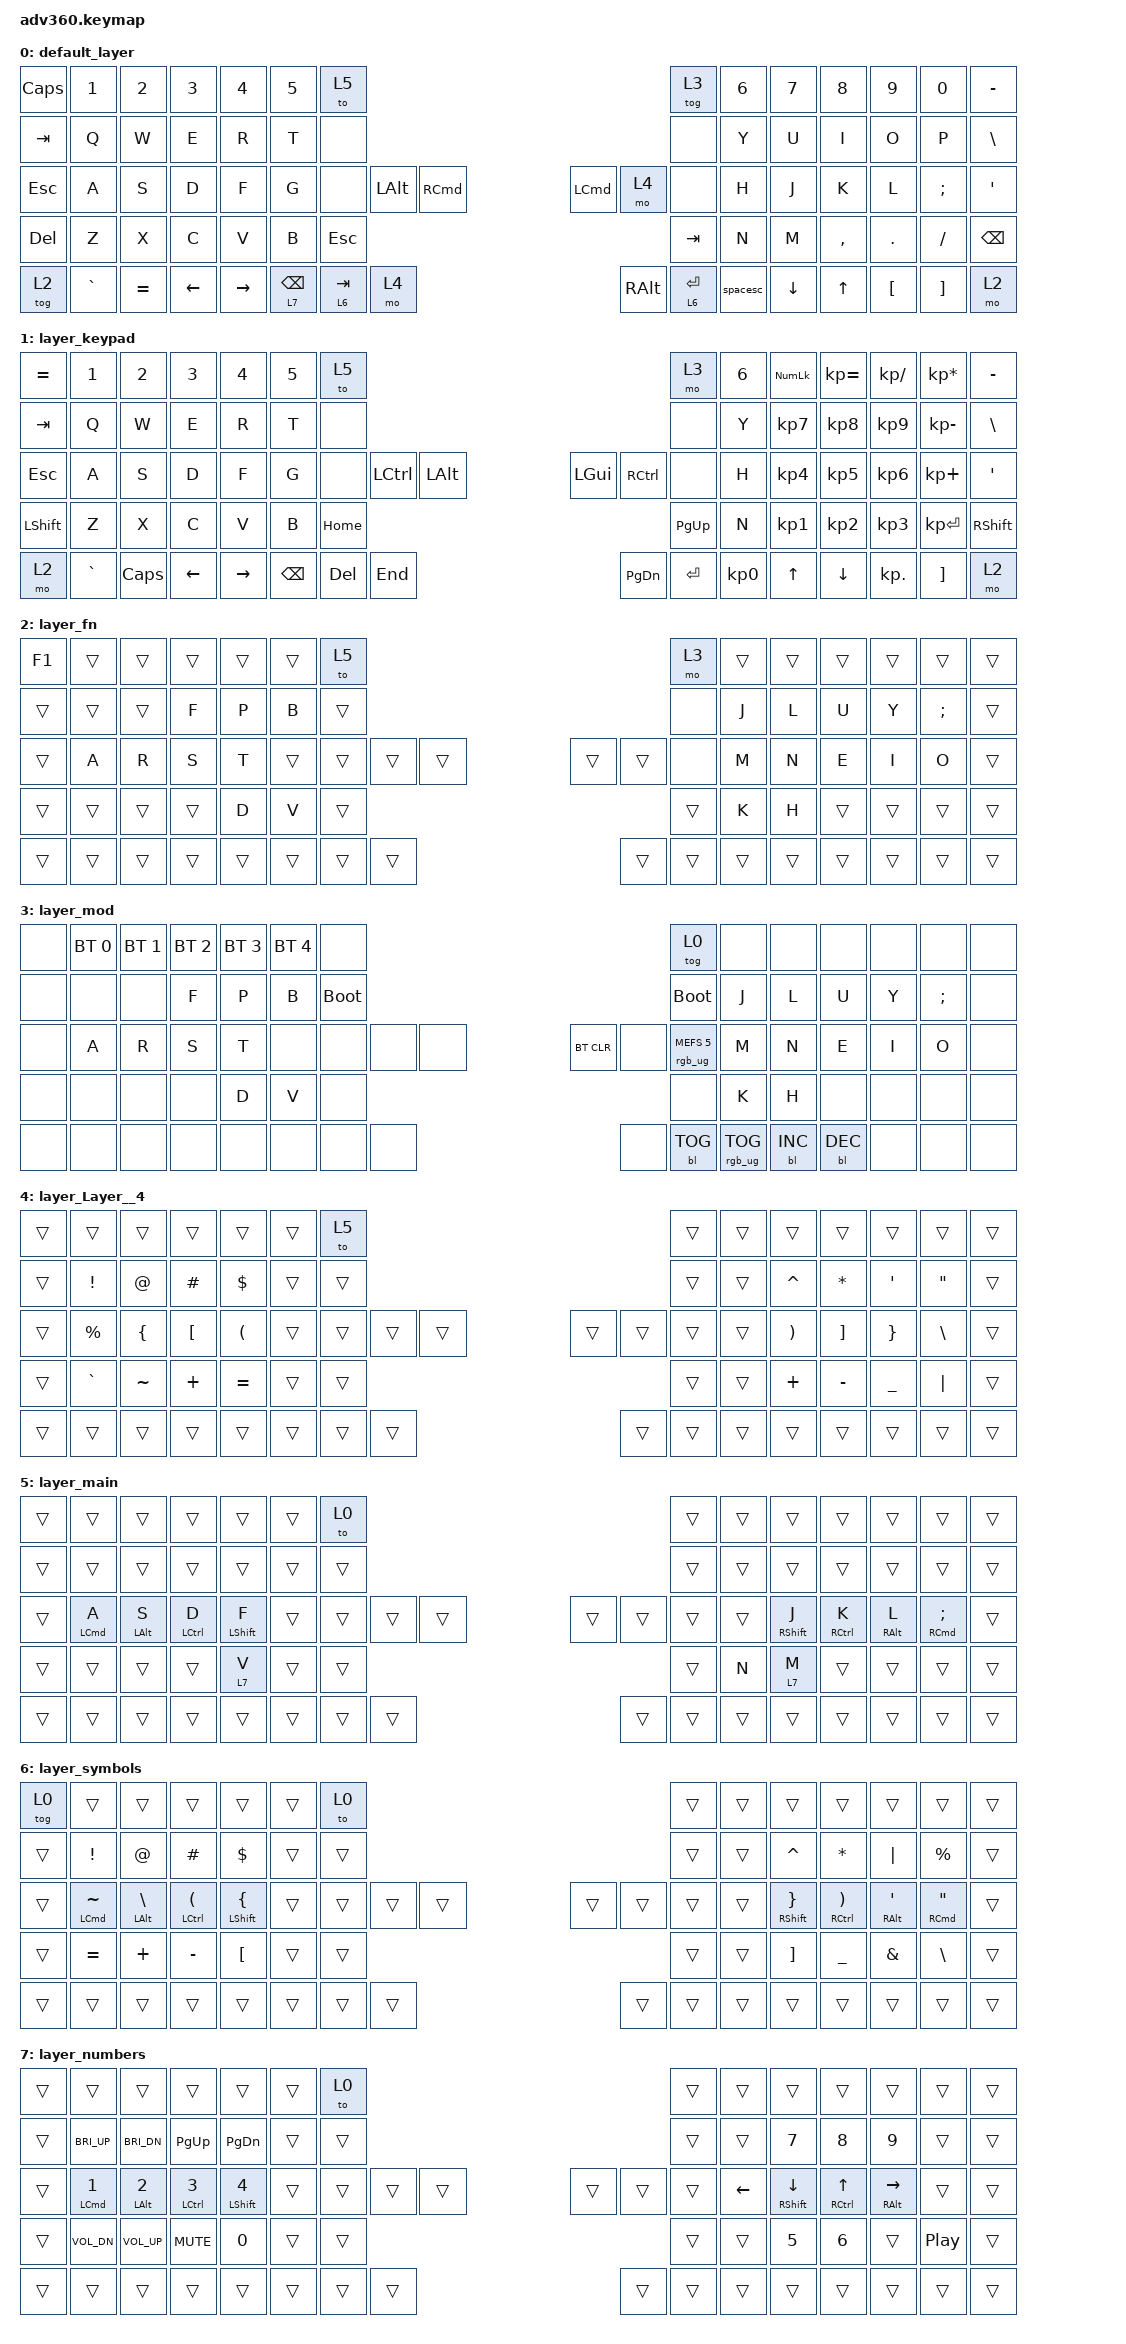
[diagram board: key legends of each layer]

/*
 * Copyright (c) 2020 The ZMK Contributors
 *
 * SPDX-License-Identifier: MIT
 */


/* THIS FILE WAS GENERATED!
 *
 * This file was generated automatically. You may or may not want to
 * edit it directly.
 */

#include <behaviors.dtsi>
#include <dt-bindings/zmk/keys.h>
#include <dt-bindings/zmk/bt.h>
#include <dt-bindings/zmk/rgb.h>
#include <dt-bindings/zmk/backlight.h>

/ {
  behaviors {
    #include "macros.dtsi"

    hm: homerow_mods {
        compatible = "zmk,behavior-hold-tap";
        label = "HOMEROW_MODS";
        #binding-cells = <2>;
        tapping-term-ms = <200>;
        quick_tap_ms = <150>;
        global-quick-tap;
        // require-prior-idle-ms=<125>;
        flavor = "balanced";
        bindings = <&kp>, <&kp>;
    };
    spacesc: space_escape {
        compatible = "zmk,behavior-mod-morph";
        label = "SPACE_ESCAPE";
        #binding-cells = <0>;
        bindings = <&kp SPACE>, <&kp ESC>;
        mods = <(MOD_LSFT|MOD_RSFT)>;
    }; 
  };

    keymap {
        compatible = "zmk,keymap";


        default_layer {
            bindings = <
 &kp CAPSLOCK     &kp N1     &kp N2          &kp N3           &kp N4  &kp N5                          &to 5                                                                           &tog 3  &kp N6          &kp N7        &kp N8    &kp N9    &kp N0      &kp MINUS
      &kp TAB      &kp Q      &kp W           &kp E            &kp R   &kp T                          &none                                                                            &none   &kp Y           &kp U         &kp I     &kp O     &kp P       &kp BSLH
      &kp ESC      &kp A      &kp S           &kp D            &kp F   &kp G                          &none      &kp LEFT_ALT  &kp RCMD                       &kp LCMD      &mo 4      &none   &kp H           &kp J         &kp K     &kp L  &kp SEMI        &kp SQT
      &kp DEL      &kp Z      &kp X           &kp C            &kp V   &kp B                                                    &kp ESC                        &kp TAB                         &kp N           &kp M     &kp COMMA   &kp DOT  &kp FSLH  &kp BACKSPACE
       &tog 2  &kp GRAVE  &kp EQUAL  &kp LEFT_ARROW  &kp RIGHT_ARROW                    &lt 7 BACKSPACE  &lt 6 TAB     &mo 4                  &kp RIGHT_ALT  &lt 6 ENTER  &spacesc       &kp DOWN_ARROW  &kp UP_ARROW  &kp LBKT  &kp RBKT          &mo 2
            >;
        };

        layer_keypad {
            bindings = <
 &kp EQUAL     &kp N1    &kp N2    &kp N3     &kp N4  &kp N5               &to 5                                                                 &mo 3  &kp N6  &kp KP_NUM  &kp KP_EQUAL  &kp KP_DIVIDE  &kp KP_MULTIPLY  &kp MINUS
   &kp TAB      &kp Q     &kp W     &kp E      &kp R   &kp T               &none                                                                 &none   &kp Y   &kp KP_N7     &kp KP_N8      &kp KP_N9     &kp KP_MINUS   &kp BSLH
   &kp ESC      &kp A     &kp S     &kp D      &kp F   &kp G               &none  &kp LCTRL  &kp LALT                   &kp LGUI  &kp RCTRL      &none   &kp H   &kp KP_N4     &kp KP_N5      &kp KP_N6      &kp KP_PLUS    &kp SQT
 &kp LSHFT      &kp Z     &kp X     &kp C      &kp V   &kp B                                 &kp HOME                  &kp PG_UP                         &kp N   &kp KP_N1     &kp KP_N2      &kp KP_N3     &kp KP_ENTER  &kp RSHFT
     &mo 2  &kp GRAVE  &kp CAPS  &kp LEFT  &kp RIGHT                    &kp BSPC    &kp DEL   &kp END                  &kp PG_DN  &kp ENTER  &kp KP_N0              &kp UP      &kp DOWN     &kp KP_DOT         &kp RBKT      &mo 2
            >;
        };

        layer_fn {
            bindings = <
 &kp F1  &trans  &trans  &trans  &trans  &trans             &to 5                                                   &mo 3  &trans  &trans  &trans  &trans         &trans  &trans
 &trans  &trans  &trans   &kp F   &kp P   &kp B            &trans                                                   &none   &kp J   &kp L   &kp U   &kp Y  &kp SEMICOLON  &trans
 &trans   &kp A   &kp R   &kp S   &kp T  &trans            &trans  &trans  &trans                  &trans  &trans   &none   &kp M   &kp N   &kp E   &kp I          &kp O  &trans
 &trans  &trans  &trans  &trans   &kp D   &kp V                            &trans                  &trans                   &kp K   &kp H  &trans  &trans         &trans  &trans
 &trans  &trans  &trans  &trans  &trans                    &trans  &trans  &trans                  &trans  &trans  &trans          &trans  &trans  &trans         &trans  &trans
            >;
        };

        layer_mod {
            bindings = <
  &none  &bt BT_SEL 0  &bt BT_SEL 1  &bt BT_SEL 2  &bt BT_SEL 3  &bt BT_SEL 4                  &none                                                                          &tog 0   &none       &none       &none   &none          &none   &none
  &none         &none         &none         &kp F         &kp P         &kp B            &bootloader                                                                     &bootloader   &kp J       &kp L       &kp U   &kp Y  &kp SEMICOLON   &none
  &none         &kp A         &kp R         &kp S         &kp T         &none                  &none   &none   &none                  &bt BT_CLR       &none  &rgb_ug RGB_MEFS_CMD 5   &kp M       &kp N       &kp E   &kp I          &kp O   &none
  &none         &none         &none         &none         &kp D         &kp V                                  &none                       &none                                       &kp K       &kp H       &none   &none          &none   &none
  &none         &none         &none         &none         &none                                &none   &none   &none                       &none  &bl BL_TOG         &rgb_ug RGB_TOG          &bl BL_INC  &bl BL_DEC   &none          &none   &none
            >;
        };

        layer_Layer__4 {
            bindings = <
 &trans       &trans          &trans            &trans                &trans  &trans             &to 5                                                  &trans  &trans                 &trans             &trans            &trans             &trans  &trans
 &trans     &kp EXCL          &kp AT         &kp POUND            &kp DOLLAR  &trans            &trans                                                  &trans  &trans              &kp CARET           &kp STAR  &kp SINGLE_QUOTE  &kp DOUBLE_QUOTES  &trans
 &trans  &kp PERCENT  &kp LEFT_BRACE  &kp LEFT_BRACKET  &kp LEFT_PARENTHESIS  &trans            &trans  &trans  &trans                  &trans  &trans  &trans  &trans  &kp RIGHT_PARENTHESIS  &kp RIGHT_BRACKET   &kp RIGHT_BRACE      &kp BACKSLASH  &trans
 &trans    &kp GRAVE       &kp TILDE          &kp PLUS             &kp EQUAL  &trans                            &trans                  &trans                  &trans               &kp PLUS          &kp MINUS    &kp UNDERSCORE           &kp PIPE  &trans
 &trans       &trans          &trans            &trans                &trans                    &trans  &trans  &trans                  &trans  &trans  &trans                         &trans             &trans            &trans             &trans  &trans
            >;
        };

        layer_main {
            bindings = <
  &trans &trans &trans         &trans             &trans &trans            &to 0                                                                                   &trans &trans              &trans          &trans &trans &trans &trans
  &trans &trans &trans         &trans             &trans &trans           &trans                                                                                   &trans &trans              &trans          &trans &trans &trans &trans
  &trans &hm LEFT_COMMAND A &hm LEFT_ALT S &hm LCTRL D &hm LEFT_SHIFT F &trans           &trans         &trans &trans                     &trans            &trans    &trans &trans &hm RIGHT_SHIFT J &hm RCTRL K &hm RIGHT_ALT L &hm RIGHT_COMMAND SEMICOLON &trans
  &trans &trans &trans         &trans             &lt 7 V &trans                                       &trans                     &trans                                   &kp N              &lt 7 M          &trans &trans &trans &trans
  &trans &trans &trans         &trans             &trans                      &trans  &trans &trans                     &trans &trans &trans &trans          &trans &trans &trans &trans
            >;
        };

        layer_symbols {
            bindings = <
  &tog 0          &trans   &trans               &trans         &trans           &trans            &to 0                                                                              &trans            &trans           &trans                &trans        &trans        &trans &trans
  &trans        &kp EXCL   &kp AT             &kp HASH     &kp DOLLAR      &trans           &trans                                                                              &trans         &trans  &kp CARET &kp STAR      &kp PIPE         &kp PERCENT  &trans
  &trans &hm LEFT_COMMAND TILDE &hm LEFT_ALT BACKSLASH &hm LCTRL LPAR &hm LEFT_SHIFT LBRC &trans           &trans         &trans &trans                     &trans            &trans    &trans &trans &hm RIGHT_SHIFT RBRC &hm RCTRL RPAR &hm RIGHT_ALT SQT &hm RIGHT_COMMAND DQT &trans
  &trans       &kp EQUAL                   &kp PLUS               &kp MINUS                  &kp LBKT          &trans            &trans       &trans      &trans  &kp RBKT &kp UNDER &kp AMPS    &kp BACKSLASH &trans
  &trans          &trans   &trans               &trans         &trans                                &trans &trans &trans                     &trans &trans &trans                                &trans                &trans        &trans        &trans &trans
            >;
        };

        layer_numbers {
            bindings = <
 &trans        &trans    &trans      &trans          &trans        &trans             &to 0                                                                       &trans  &trans            &trans        &trans        &trans     &trans  &trans
 &trans        &kp C_BRI_UP  &kp C_BRI_DN  &kp PG_UP      &kp PG_DN      &trans            &trans                                                                                       &trans    &trans   &kp N7    &kp N8    &kp N9        &trans &trans
 &trans  &hm LEFT_COMMAND N1    &hm LEFT_ALT N2      &hm LCTRL N3          &hm LEFT_SHIFT N4  &trans     &trans            &trans  &trans                  &trans   &trans  &trans    &kp LEFT  &hm RIGHT_SHIFT DOWN  &hm RCTRL UP    &hm RIGHT_ALT RIGHT     &trans &trans
 &trans     &kp C_VOL_DN  &kp C_VOL_UP   &kp C_MUTE  &kp N0        &trans                                      &trans                  &trans                             &trans  &kp N5  &kp N6  &trans &kp C_PLAY_PAUSE &trans
 &trans        &trans    &trans      &trans          &trans                           &trans &trans  &trans                  &trans  &trans &trans   &trans     &trans        &trans     &trans  &trans
            >;
        };

    };
};
